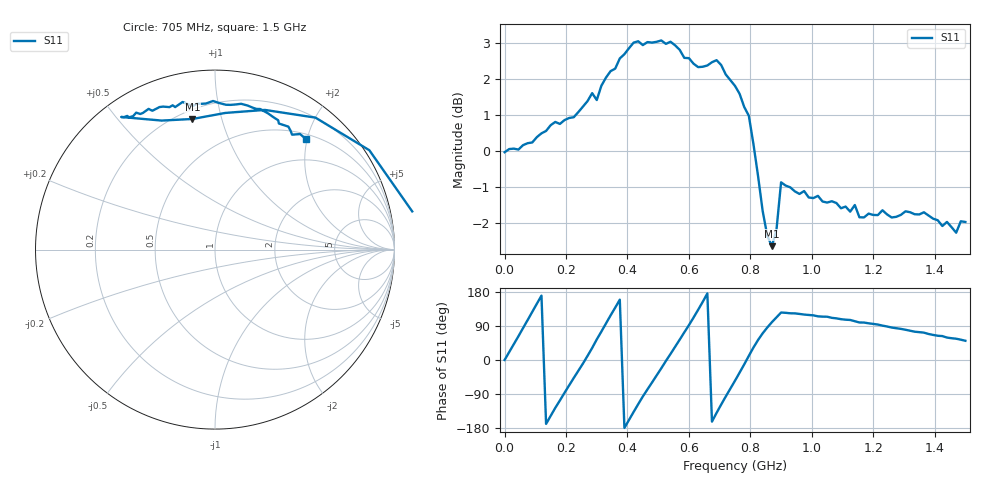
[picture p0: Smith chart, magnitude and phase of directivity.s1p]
! Created with skrf 1.8.0 (http://scikit-rf.org).
# Hz S RI R 50.0
!freq ReS11 ImS11
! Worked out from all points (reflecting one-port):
!   101 points, 50 kHz to 1.5 GHz, reference 50 ohm
!   lowest |S11| = -2.6 dB at 870 MHz (marker M1), VSWR 6.65, Z = 12.7 + j40.5 ohm
!   phase of S11 starts at 0 deg and turns +1131 deg over the sweep
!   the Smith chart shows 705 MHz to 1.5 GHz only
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50000  0.9964 0.00149
6.0048e7  0.1033 1.014
9.0047e7  -0.6196 0.8201
1.20046e8  -1.042 0.1851
1.50045e8  -0.9144 -0.586
1.950435e8  0.0644 -1.102
2.40042e8  0.9953 -0.54
2.70041e8  1.152 0.2219
3.0004e8  0.6864 0.9558
3.30039e8  -0.1411 1.256
3.750375e8  -1.256 0.4764
4.20036e8  -1.033 -0.9639
4.650345e8  0.3042 -1.382
4.950335e8  1.077 -0.9205
5.250325e8  1.406 -0.0636
5.70031e8  0.8169 1.113
6.150295e8  -0.4932 1.226
6.60028e8  -1.31 0.0999
7.050265e8  -0.6098 -1.166
7.50025e8  0.7123 -1.004
7.950235e8  1.099 0.2127
8.250225e8  0.5596 0.7353
8.70021e8  -0.1254 0.7277
9.0002e8  -0.5229 0.7389
9.450185e8  -0.4797 0.737
1.125012e9  -0.2219 0.794
1.320006e9  0.1815 0.8026
1.5e9  0.5046 0.6178
